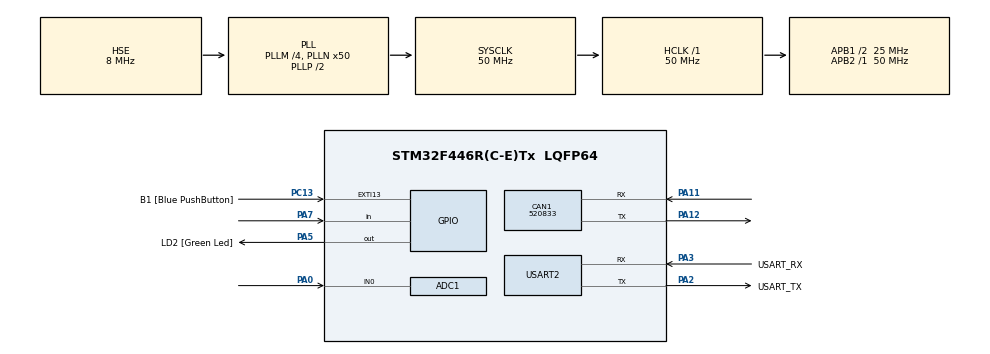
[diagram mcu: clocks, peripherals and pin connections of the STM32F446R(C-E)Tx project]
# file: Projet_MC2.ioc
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ADC1.Channel-0\#ChannelRegularConversion=ADC_CHANNEL_0
ADC1.NbrOfConversionFlag=1
ADC1.Rank-0\#ChannelRegularConversion=1
ADC1.SamplingTime-0\#ChannelRegularConversion=ADC_SAMPLETIME_3CYCLES
ADC1.master=1
CAN1.BS1=CAN_BS1_1TQ
CAN1.BS2=CAN_BS2_1TQ
CAN1.CalculateBaudRate=520833
CAN1.CalculateTimeBit=1920
CAN1.CalculateTimeQuantum=640.0
Mcu.Family=STM32F4
Mcu.Name=STM32F446R(C-E)Tx
Mcu.Package=LQFP64
NVIC.PriorityGroup=NVIC_PRIORITYGROUP_0
PA0-WKUP.Signal=ADCx_IN0
PA11.Mode=CAN_Activate
PA11.Signal=CAN1_RX
PA12.Mode=CAN_Activate
PA12.Signal=CAN1_TX
PA13.GPIO_Label=TMS
PA13.Mode=Serial_Wire
PA13.Signal=SYS_JTMS-SWDIO
PA14.GPIO_Label=TCK
PA14.Mode=Serial_Wire
PA14.Signal=SYS_JTCK-SWCLK
PA2.GPIO_Label=USART_TX
PA2.Mode=Asynchronous
PA2.Signal=USART2_TX
PA3.GPIO_Label=USART_RX
PA3.Mode=Asynchronous
PA3.Signal=USART2_RX
PA5.GPIO_Label=LD2 [Green Led]
PA5.Signal=GPIO_Output
PA7.Signal=GPIO_Input
PB3.GPIO_Label=SWO
PB3.Signal=SYS_JTDO-SWO
PC13.GPIO_Label=B1 [Blue PushButton]
PC13.GPIO_ModeDefaultEXTI=GPIO_MODE_IT_FALLING
PC13.Signal=GPXTI13
PC14-OSC32_IN.Mode=LSE-External-Oscillator
PC14-OSC32_IN.Signal=RCC_OSC32_IN
PC15-OSC32_OUT.Mode=LSE-External-Oscillator
PC15-OSC32_OUT.Signal=RCC_OSC32_OUT
PH0-OSC_IN.Mode=HSE-External-Oscillator
PH0-OSC_IN.Signal=RCC_OSC_IN
PH1-OSC_OUT.Mode=HSE-External-Oscillator
PH1-OSC_OUT.Signal=RCC_OSC_OUT
ProjectManager.HeapSize=0x200
ProjectManager.StackSize=0x400
ProjectManager.TargetToolchain=STM32CubeIDE
RCC.48MHZClocksFreq_Value=84000000
RCC.AHBFreq_Value=50000000
RCC.APB1CLKDivider=RCC_HCLK_DIV2
RCC.APB1Freq_Value=25000000
RCC.APB1TimFreq_Value=50000000
RCC.APB2Freq_Value=50000000
RCC.APB2TimFreq_Value=50000000
RCC.CortexFreq_Value=50000000
RCC.FLatency-AdvancedSettings=FLASH_LATENCY_1
RCC.HCLKFreq_Value=50000000
RCC.HSE_VALUE=8000000
RCC.HSI_VALUE=16000000
RCC.PLLM=4
RCC.PLLN=50
RCC.PLLSourceVirtual=RCC_PLLSOURCE_HSE
RCC.SYSCLKFreq_VALUE=50000000
RCC.SYSCLKSource=RCC_SYSCLKSOURCE_PLLCLK
RCC.USBFreq_Value=50000000
RCC.VCOOutputFreq_Value=100000000
SH.ADCx_IN0.0=ADC1_IN0,IN0
USART2.VirtualMode=VM_ASYNC
board=NUCLEO-F446RE

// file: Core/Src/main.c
/* USER CODE BEGIN Header */
/**
  ******************************************************************************
  * @file           : main.c
  * @brief          : Main program body
  ******************************************************************************
  * @attention
  *
  * Copyright (c) 2024 STMicroelectronics.
  * All rights reserved.
  *
  * This software is licensed under terms that can be found in the LICENSE file
  * in the root directory of this software component.
  * If no LICENSE file comes with this software, it is provided AS-IS.
  *
  ******************************************************************************
  */
/* USER CODE END Header */
#include "stdio.h"
#include "main.h"
#include "string.h"

ADC_HandleTypeDef hadc1;

CAN_HandleTypeDef hcan1;

UART_HandleTypeDef huart2;

void SystemClock_Config(void);
static void MX_GPIO_Init(void);
static void MX_USART2_UART_Init(void);
static void MX_ADC1_Init(void);
static void MX_CAN1_Init(void);
/* USER CODE BEGIN PFP */
const char *char_sounds[] = {
    "._",    // A
    "_...",  // B
    "_._.",  // C
    "_..",   // D
    ".",     // E
    ".._.",  // F
    "__.",   // G
    "....",  // H
    "..",    // I
    ".___",  // J
    "_._",   // K
    "._..",  // L
    "__",    // M
    "_.",    // N
    "___",   // O
    ".__.",  // P
    "__._",  // Q
    "._.",   // R
    "...",   // S
    "_",     // T
    ".._",   // U
    "..._",  // V
    ".__",   // W
    "_.._",  // X
    "_.__",  // Y
    "__..",  // Z
    " ",     // Espace
    " ",     // Autres caractères
};

char decodeMorseSound(const char *sound) {
    for (int i = 0; i < 28; i++) {
        if (strcmp(sound, char_sounds[i]) == 0) {
            return 'A' + i;
        }
    }
    return '\0'; // Caractère non trouvé
}

void decodeMorseString(const char *morse) {
    char decodedString[100];
    int index = 0;
    int morseLength = strlen(morse);

    char currentSound[5];
    int soundIndex = 0;

    for (int i = 0; i < morseLength; i++) {
        if (morse[i] == '.' || morse[i] == '_') {
            currentSound[soundIndex] = morse[i];
            soundIndex++;
        } else if (morse[i] == ' ') {
            currentSound[soundIndex] = '\0';
            char decodedChar = decodeMorseSound(currentSound);
            if (decodedChar != '\0') {
                decodedString[index] = decodedChar;
                index++;
            }
            soundIndex = 0;
        }
    }

    decodedString[index] = '\0';
//    printf("Decoded string: %s\n", decodedString);
    HAL_UART_Transmit(&huart2, (uint8_t*)&decodedString, strlen(decodedString), HAL_MAX_DELAY);
}
void checkSoundIntensity(uint32_t adc_value, char *morseCode) {
  static uint32_t previousTime = 0;
  static int soundIndex = 0;

  uint32_t currentTime = HAL_GetTick();
  uint32_t elapsedTime = currentTime - previousTime;

  if (elapsedTime >= 200) {
    if (soundIndex > 0) {
      if (elapsedTime >= 400) {
        morseCode[soundIndex] = '-';
      } else {
        morseCode[soundIndex] = '.';
      }
      soundIndex++;
    }
    previousTime = currentTime;
  }

  if (elapsedTime >= 1000) {
    morseCode[soundIndex] = ' ';
    soundIndex++;
    morseCode[soundIndex] = '\0';
    soundIndex = 0;
    decodeMorseString(morseCode);
  }
}
/* USER CODE END PFP */

/* USER CODE BEGIN 0 */
uint32_t adc_value,state;
/* USER CODE END 0 */

int main(void)
{

  /* MCU Configuration--------------------------------------------------------*/

  /* Reset of all peripherals, Initializes the Flash interface and the Systick. */
  HAL_Init();

  /* Configure the system clock */
  SystemClock_Config();

  /* Initialize all configured peripherals */
  MX_GPIO_Init();
  MX_USART2_UART_Init();
  MX_ADC1_Init();
  MX_CAN1_Init();

  /* Infinite loop */
  /* USER CODE BEGIN WHILE */
  const char *morseCode = "_._. . ._. ._. _ _ ._.";
  decodeMorseString(morseCode);

  while (1)
  {

      if (HAL_ADC_Start(&hadc1) != HAL_OK) {
          Error_Handler();
      }

      /* attendre la terminaison de la conversion adc */
      if (HAL_ADC_PollForConversion(&hadc1, HAL_MAX_DELAY) != HAL_OK) {
          Error_Handler();
      }

      /* lire la valeur de adc */
      adc_value = HAL_ADC_GetValue(&hadc1);
      state = HAL_ADC_GetState(&hadc1);
      HAL_UART_Transmit(&huart2, (uint32_t *)&state, sizeof(state), HAL_MAX_DELAY);
      const char *morseCode = "";
		if(adc_value>3300){
			HAL_UART_Transmit(&huart2, (uint8_t *)"abouch", 6, HAL_MAX_DELAY);
			checkSoundIntensity(adc_value, morseCode);
		}

      /* convertir la valeur d'adc */
      // selon les characteristiques du microphone ..

      /* transmettre la valeur convertie via uart */
      char buffer[20];
      for (int i = 0; i < strlen(buffer); i++) {
                ITM_SendChar(buffer[i]);
            }
      sprintf(buffer, "Sound intensity: %lu\n", adc_value);
      HAL_UART_Transmit(&huart2, (uint8_t *)buffer, strlen(buffer), HAL_MAX_DELAY);

      HAL_Delay(1000);
    /* USER CODE END WHILE */

  }
}

void SystemClock_Config(void)
{
  RCC_OscInitTypeDef RCC_OscInitStruct = {0};
  RCC_ClkInitTypeDef RCC_ClkInitStruct = {0};

  /** Configure the main internal regulator output voltage
  */
  __HAL_RCC_PWR_CLK_ENABLE();
  __HAL_PWR_VOLTAGESCALING_CONFIG(PWR_REGULATOR_VOLTAGE_SCALE3);

  /** Initializes the RCC Oscillators according to the specified parameters
  * in the RCC_OscInitTypeDef structure.
  */
  RCC_OscInitStruct.OscillatorType = RCC_OSCILLATORTYPE_HSE;
  RCC_OscInitStruct.HSEState = RCC_HSE_ON;
  RCC_OscInitStruct.PLL.PLLState = RCC_PLL_ON;
  RCC_OscInitStruct.PLL.PLLSource = RCC_PLLSOURCE_HSE;
  RCC_OscInitStruct.PLL.PLLM = 4;
  RCC_OscInitStruct.PLL.PLLN = 50;
  RCC_OscInitStruct.PLL.PLLP = RCC_PLLP_DIV2;
  RCC_OscInitStruct.PLL.PLLQ = 2;
  RCC_OscInitStruct.PLL.PLLR = 2;
  if (HAL_RCC_OscConfig(&RCC_OscInitStruct) != HAL_OK)
  {
    Error_Handler();
  }

  /** Initializes the CPU, AHB and APB buses clocks
  */
  RCC_ClkInitStruct.ClockType = RCC_CLOCKTYPE_HCLK|RCC_CLOCKTYPE_SYSCLK
                              |RCC_CLOCKTYPE_PCLK1|RCC_CLOCKTYPE_PCLK2;
  RCC_ClkInitStruct.SYSCLKSource = RCC_SYSCLKSOURCE_PLLCLK;
  RCC_ClkInitStruct.AHBCLKDivider = RCC_SYSCLK_DIV1;
  RCC_ClkInitStruct.APB1CLKDivider = RCC_HCLK_DIV2;
  RCC_ClkInitStruct.APB2CLKDivider = RCC_HCLK_DIV1;

  if (HAL_RCC_ClockConfig(&RCC_ClkInitStruct, FLASH_LATENCY_1) != HAL_OK)
  {
    Error_Handler();
  }
}

static void MX_ADC1_Init(void)
{

  ADC_ChannelConfTypeDef sConfig = {0};

  /** Configure the global features of the ADC (Clock, Resolution, Data Alignment and number of conversion)
  */
  hadc1.Instance = ADC1;
  hadc1.Init.ClockPrescaler = ADC_CLOCK_SYNC_PCLK_DIV2;
  hadc1.Init.Resolution = ADC_RESOLUTION_12B;
  hadc1.Init.ScanConvMode = DISABLE;
  hadc1.Init.ContinuousConvMode = DISABLE;
  hadc1.Init.DiscontinuousConvMode = DISABLE;
  hadc1.Init.ExternalTrigConvEdge = ADC_EXTERNALTRIGCONVEDGE_NONE;
  hadc1.Init.ExternalTrigConv = ADC_SOFTWARE_START;
  hadc1.Init.DataAlign = ADC_DATAALIGN_RIGHT;
  hadc1.Init.NbrOfConversion = 1;
  hadc1.Init.DMAContinuousRequests = DISABLE;
  hadc1.Init.EOCSelection = ADC_EOC_SINGLE_CONV;
  if (HAL_ADC_Init(&hadc1) != HAL_OK)
  {
    Error_Handler();
  }

  /** Configure for the selected ADC regular channel its corresponding rank in the sequencer and its sample time.
  */
  sConfig.Channel = ADC_CHANNEL_0;
  sConfig.Rank = 1;
  sConfig.SamplingTime = ADC_SAMPLETIME_3CYCLES;
  if (HAL_ADC_ConfigChannel(&hadc1, &sConfig) != HAL_OK)
  {
    Error_Handler();
  }

}

static void MX_CAN1_Init(void)
{

  hcan1.Instance = CAN1;
  hcan1.Init.Prescaler = 16;
  hcan1.Init.Mode = CAN_MODE_NORMAL;
  hcan1.Init.SyncJumpWidth = CAN_SJW_1TQ;
  hcan1.Init.TimeSeg1 = CAN_BS1_1TQ;
  hcan1.Init.TimeSeg2 = CAN_BS2_1TQ;
  hcan1.Init.TimeTriggeredMode = DISABLE;
  hcan1.Init.AutoBusOff = DISABLE;
  hcan1.Init.AutoWakeUp = DISABLE;
  hcan1.Init.AutoRetransmission = DISABLE;
  hcan1.Init.ReceiveFifoLocked = DISABLE;
  hcan1.Init.TransmitFifoPriority = DISABLE;
  if (HAL_CAN_Init(&hcan1) != HAL_OK)
  {
    Error_Handler();
  }

}

static void MX_USART2_UART_Init(void)
{

  huart2.Instance = USART2;
  huart2.Init.BaudRate = 115200;
  huart2.Init.WordLength = UART_WORDLENGTH_8B;
  huart2.Init.StopBits = UART_STOPBITS_1;
  huart2.Init.Parity = UART_PARITY_NONE;
  huart2.Init.Mode = UART_MODE_TX_RX;
  huart2.Init.HwFlowCtl = UART_HWCONTROL_NONE;
  huart2.Init.OverSampling = UART_OVERSAMPLING_16;
  if (HAL_UART_Init(&huart2) != HAL_OK)
  {
    Error_Handler();
  }

}

static void MX_GPIO_Init(void)
{
  GPIO_InitTypeDef GPIO_InitStruct = {0};

  /* GPIO Ports Clock Enable */
  __HAL_RCC_GPIOC_CLK_ENABLE();
  __HAL_RCC_GPIOH_CLK_ENABLE();
  __HAL_RCC_GPIOA_CLK_ENABLE();
  __HAL_RCC_GPIOB_CLK_ENABLE();

  /*Configure GPIO pin Output Level */
  HAL_GPIO_WritePin(LD2_GPIO_Port, LD2_Pin, GPIO_PIN_RESET);

  /*Configure GPIO pin : B1_Pin */
  GPIO_InitStruct.Pin = B1_Pin;
  GPIO_InitStruct.Mode = GPIO_MODE_IT_FALLING;
  GPIO_InitStruct.Pull = GPIO_NOPULL;
  HAL_GPIO_Init(B1_GPIO_Port, &GPIO_InitStruct);

  /*Configure GPIO pin : LD2_Pin */
  GPIO_InitStruct.Pin = LD2_Pin;
  GPIO_InitStruct.Mode = GPIO_MODE_OUTPUT_PP;
  GPIO_InitStruct.Pull = GPIO_NOPULL;
  GPIO_InitStruct.Speed = GPIO_SPEED_FREQ_LOW;
  HAL_GPIO_Init(LD2_GPIO_Port, &GPIO_InitStruct);

  /*Configure GPIO pin : PA7 */
  GPIO_InitStruct.Pin = GPIO_PIN_7;
  GPIO_InitStruct.Mode = GPIO_MODE_INPUT;
  GPIO_InitStruct.Pull = GPIO_NOPULL;
  HAL_GPIO_Init(GPIOA, &GPIO_InitStruct);

}

void Error_Handler(void)
{
  __disable_irq();
  while (1)
  {
  }
}
